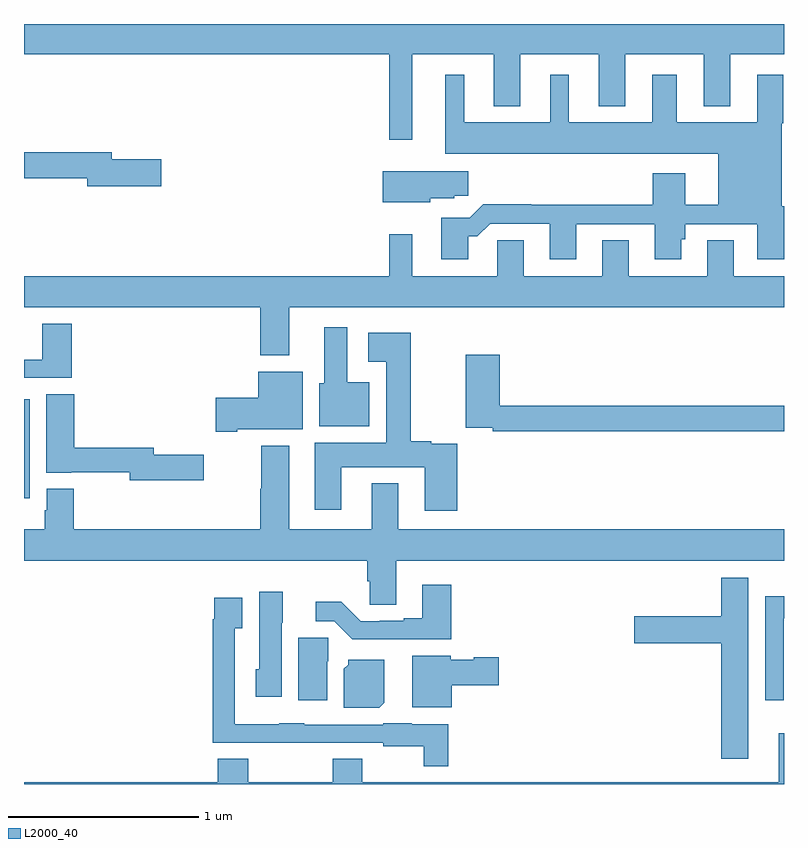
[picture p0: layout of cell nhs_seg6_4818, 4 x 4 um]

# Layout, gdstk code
import gdstk
lib = gdstk.Library(unit=1e-6, precision=1e-09)
def R(c, l, rs):  # rectangles x0, y0, x1, y1
    for r in rs: c.add(gdstk.rectangle(r[:2], r[2:], *l))
def P(c, l, *ps):  # polygons
    for p in ps: c.add(gdstk.Polygon(p, *l))
L2000_40 = (2000, 40)

nhs_seg6_4818 = lib.new_cell('nhs_seg6_4818')
R(nhs_seg6_4818, L2000_40, [(397,941.004,397.03,941.524)])
P(nhs_seg6_4818, L2000_40, [(399.043,943.34),(399.473,943.34),(399.473,943.067),(399.613,943.067),(399.613,943.34),(400.025,943.34),(400.025,943.067),(400.165,943.067),(400.165,943.34),(400.577,943.34),(400.577,943.067),(400.717,943.067),(400.717,943.34),(401,943.34),(401,943.5),(397,943.5),(397,943.34),(398.922,943.34),(398.922,942.891),(399.043,942.891)],
  [(399.337,942.383),(399.386,942.383),(399.453,942.45),(399.767,942.45),(399.767,942.261),(399.907,942.261),(399.907,942.447),(400.319,942.447),(400.319,942.261),(400.459,942.261),(400.459,942.366),(400.48,942.366),(400.48,942.447),(400.859,942.447),(400.859,942.261),(401,942.261),(401,942.54),(400.987,942.54),(400.987,942.978),(400.995,942.978),(400.995,943.234),(400.859,943.234),(400.859,942.982),(400.435,942.982),(400.435,943.234),(400.307,943.234),(400.307,942.982),(399.868,942.982),(399.868,943.234),(399.77,943.234),(399.77,942.982),(399.316,942.982),(399.316,943.234),(399.218,943.234),(399.218,942.818),(400.655,942.818),(400.655,942.548),(400.48,942.548),(400.48,942.715),(400.31,942.715),(400.31,942.548),(399.671,942.548),(399.671,942.551),(399.416,942.551),(399.345,942.48),(399.197,942.48),(399.197,942.261),(399.337,942.261)],
  [(397.723,942.788),(397.462,942.788),(397.462,942.824),(397,942.824),(397,942.688),(397.334,942.688),(397.334,942.646),(397.723,942.646)],
  [(399.138,942.584),(399.264,942.584),(399.264,942.595),(399.337,942.595),(399.337,942.724),(398.888,942.724),(398.888,942.563),(399.138,942.563)],
  [(398.395,942.008),(401,942.008),(401,942.172),(400.735,942.172),(400.735,942.362),(400.595,942.362),(400.595,942.172),(400.183,942.172),(400.183,942.362),(400.043,942.362),(400.043,942.172),(399.631,942.172),(399.631,942.362),(399.492,942.362),(399.492,942.172),(399.043,942.172),(399.043,942.394),(398.922,942.394),(398.922,942.172),(397,942.172),(397,942.008),(398.243,942.008),(398.243,941.756),(398.395,941.756)],
  [(397.25,941.923),(397.097,941.923),(397.097,941.733),(397,941.733),(397,941.637),(397.25,941.637)],
  [(398.818,941.614),(398.701,941.614),(398.701,941.905),(398.579,941.905),(398.579,941.61),(398.555,941.61),(398.555,941.384),(398.818,941.384)],
  [(399.281,941.29),(399.144,941.29),(399.144,941.303),(399.036,941.303),(399.036,941.875),(398.811,941.875),(398.811,941.723),(398.906,941.723),(398.906,941.296),(398.531,941.296),(398.531,940.944),(398.671,940.944),(398.671,941.168),(399.11,941.168),(399.11,940.938),(399.281,940.938)],
  [(401,941.492),(399.503,941.492),(399.503,941.758),(399.325,941.758),(399.325,941.376),(399.466,941.376),(399.466,941.356),(401,941.356)],
  [(398.122,941.366),(398.467,941.366),(398.467,941.671),(398.234,941.671),(398.234,941.532),(398.01,941.532),(398.01,941.354),(398.122,941.354)],
  [(397.945,941.234),(397.684,941.234),(397.684,941.27),(397.265,941.27),(397.265,941.552),(397.118,941.552),(397.118,941.138),(397.248,941.138),(397.248,941.142),(397.556,941.142),(397.556,941.099),(397.945,941.099)],
  [(398.959,940.676),(401,940.676),(401,940.84),(398.971,940.84),(398.971,941.083),(398.831,941.083),(398.831,940.84),(398.395,940.84),(398.395,941.281),(398.248,941.281),(398.248,941.055),(398.243,941.055),(398.243,940.84),(397.262,940.84),(397.262,941.053),(397.121,941.053),(397.121,940.941),(397.109,940.941),(397.109,940.84),(397,940.84),(397,940.676),(398.807,940.676),(398.807,940.566),(398.82,940.566),(398.82,940.444),(398.959,940.444)],
  [(400.813,940.585),(400.67,940.585),(400.67,940.383),(400.212,940.383),(400.212,940.241),(400.67,940.241),(400.67,939.633),(400.813,939.633)],
  [(399.248,940.549),(399.095,940.549),(399.095,940.372),(398.999,940.372),(398.999,940.359),(398.872,940.359),(398.872,940.356),(398.772,940.356),(398.67,940.459),(398.535,940.459),(398.535,940.356),(398.634,940.356),(398.728,940.262),(399.248,940.262)],
  [(398.356,940.35),(398.362,940.35),(398.362,940.513),(398.237,940.513),(398.237,940.104),(398.219,940.104),(398.219,939.96),(398.356,939.96)],
  [(400.998,940.372),(401,940.372),(401,940.488),(400.902,940.488),(400.902,939.942),(400.998,939.942)],
  [(399.233,939.814),(399.042,939.814),(399.042,939.82),(398.892,939.82),(398.892,939.813),(398.475,939.813),(398.475,939.82),(398.343,939.82),(398.343,939.814),(398.109,939.814),(398.109,940.319),(398.149,940.319),(398.149,940.48),(398.001,940.48),(398.001,940.367),(397.993,940.367),(397.993,939.717),(398.243,939.717),(398.243,939.716),(398.475,939.716),(398.475,939.717),(398.892,939.717),(398.892,939.698),(399.105,939.698),(399.105,939.593),(399.233,939.593)],
  [(398.596,940.146),(398.6,940.146),(398.6,940.269),(398.444,940.269),(398.444,939.942),(398.596,939.942)],
  [(399.25,940.019),(399.499,940.019),(399.499,940.166),(399.366,940.166),(399.366,940.153),(399.246,940.153),(399.246,940.174),(399.044,940.174),(399.044,939.905),(399.25,939.905)],
  [(398.896,939.928),(398.896,940.153),(398.706,940.153),(398.706,940.128),(398.684,940.106),(398.684,939.902),(398.87,939.902)],
  [(401,939.766),(400.973,939.766),(400.973,939.508),(398.781,939.508),(398.781,939.632),(398.626,939.632),(398.626,939.508),(398.181,939.508),(398.181,939.632),(398.021,939.632),(398.021,939.508),(397,939.508),(397,939.5),(401,939.5)])

lib.write_gds('nhs_seg6_4818.gds')
